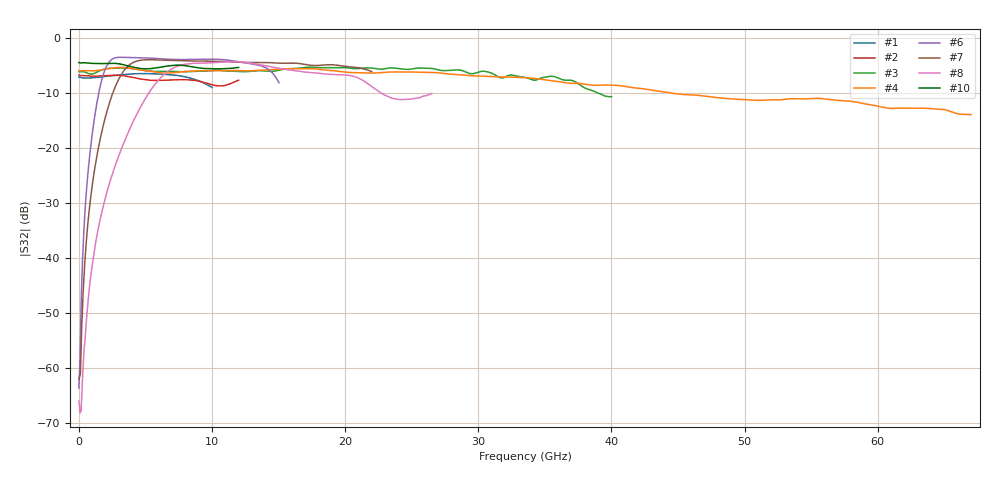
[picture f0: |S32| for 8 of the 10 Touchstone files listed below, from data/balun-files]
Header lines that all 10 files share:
! MARKI MICROWAVE INC.
! S3P File: Measurements: Mag<S11> Ang<S11> Mag<S12> Ang<S12> Mag<S13> Ang<S13>! row 1
!  Mag<S21> Ang<S21> Mag<S22> Ang<S22> Mag<S23> Ang<S23>! row 2
!  Mag<S31> Ang<S31> Mag<S32> Ang<S32> Mag<S33> Ang<S33>! row 3
# Hz S  dB  R 50
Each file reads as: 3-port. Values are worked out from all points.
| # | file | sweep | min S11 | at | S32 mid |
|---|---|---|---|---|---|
| 1 | BAL-0009SMG.s3p | 10 MHz to 10 GHz | -27.4 dB | 6.41 GHz | -6.5 dB at 5.016 GHz |
| 2 | BAL-0010.s3p | 10 MHz to 12 GHz | -15.5 dB | 10 MHz | -7.7 dB at 6.005 GHz |
| 3 | BAL-0036.s3p | 10 MHz to 40 GHz | -41.7 dB | 27.85 GHz | -5.4 dB at 20 GHz |
| 4 | BAL-0067.s3p | 10 MHz to 67 GHz | -34.4 dB | 32.5 GHz | -7.2 dB at 33.51 GHz |
| 5 | BAL-0208SMG.s3p | 10 MHz to 26.5 GHz | -23.3 dB | 23.09 GHz | -19.2 dB at 13.26 GHz |
| 6 | BAL-0212.s3p | 10 MHz to 15.03 GHz | -47.8 dB | 10 MHz | -3.9 dB at 7.566 GHz |
| 7 | BAL-0520.s3p | 10 MHz to 22 GHz | -47.8 dB | 10 MHz | -4.3 dB at 11.01 GHz |
| 8 | BAL-0620SMG.S3P | 10 MHz to 26.5 GHz | -14.9 dB | 13.22 GHz | -4.7 dB at 13.26 GHz |
| 9 | BALH-0009SMG.s3p | 10 MHz to 10 GHz | -35.4 dB | 1.508 GHz | -4.8 dB at 5.005 GHz |
| 10 | BALH-0010.s3p | 10 MHz to 12 GHz | -32.5 dB | 99.92 MHz | -5.4 dB at 6.005 GHz |
